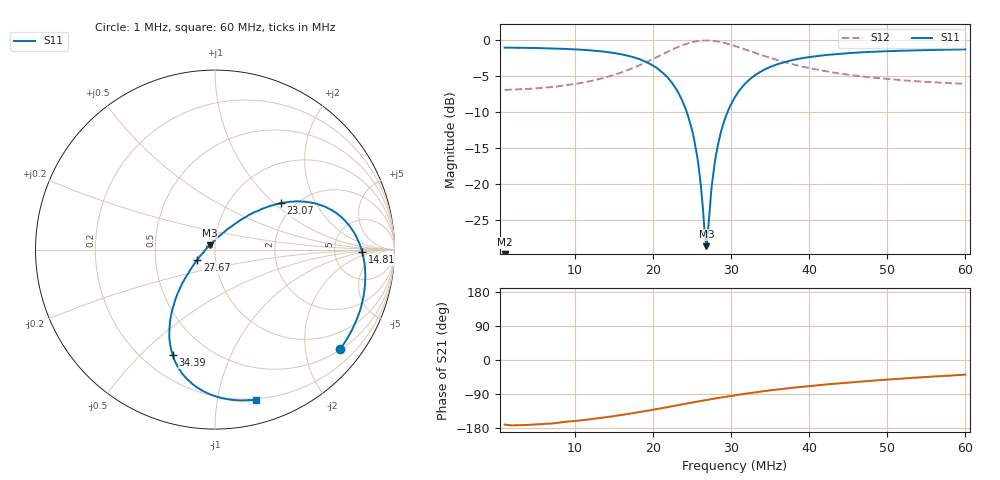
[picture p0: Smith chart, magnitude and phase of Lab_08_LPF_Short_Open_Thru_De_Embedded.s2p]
! Created Sun Apr 27 18:55:38 2025
# hz S ma R 50
! 2 Port Network Data from SP3.SP block
! freq  magS11  angS11  magS21  angS21  magS12  angS12  magS22  angS22
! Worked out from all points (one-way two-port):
!   501 points, 1 MHz to 60 MHz, reference 50 ohm
!   highest |S21| = - dB at 1 MHz (marker M1); lowest = - dB at 1 MHz (marker M2)
!   lowest |S11| = -28.6 dB at 26.84 MHz (marker M3), VSWR 1.08, Z = 47.2 + j2.25 ohm
!   |S11| at or under -10 dB: 24.34 MHz to 29.52 MHz (5.184 MHz wide, 19.2 % of centre)
!   |S22| runs from - to - dB; largest |S21 - S12| = 1
!   S11 on the Smith chart (normalised r, x): 1 MHz: 0.52, -2.79; 14.81 MHz: 10, -1; 23.07 MHz: 1.71, +1.11; 27.67 MHz: 0.82, -0.09; 34.39 MHz: 0.32, -0.63; 60 MHz: 0.19, -1.29
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1000000  0.8913 -38.4  4.569e-11 -170.3  0.4533 148.0  4.569e-11 9.7
6074000  0.8829 -28.7  4.716e-11 -168.9  0.4696 166.9  4.716e-11 11.1
1.0912e7  0.861 -14.3  5.049e-11 -158.9  0.5086 -165.2  5.049e-11 21.1
1.4806e7  0.8201 -0.9  5.503e-11 -148.6  0.5723 -139.5  5.503e-11 31.4
1.811e7  0.7459 12.0  6.086e-11 -138.1  0.6661 -115.0  6.086e-11 41.9
2.0706e7  0.6301 23.5  6.635e-11 -128.6  0.7765 -94.0  6.635e-11 51.4
2.3066e7  0.4505 35.1  7.032e-11 -119.7  0.8928 -74.8  7.032e-11 60.3
2.4364e7  0.3134 42.8  7.101e-11 -114.8  0.9496 -64.3  7.101e-11 65.2
2.5308e7  0.1996 50.8  6.998e-11 -111.2  0.9799 -56.7  6.998e-11 68.8
2.5898e7  0.1257 59.9  6.875e-11 -109.0  0.9921 -52.0  6.875e-11 71.0
2.6606e7  0.04718 98.2  6.69e-11 -106.4  0.9989 -46.6  6.69e-11 73.6
2.6842e7  0.03728 140.3  6.601e-11 -105.5  0.9993 -44.8  6.602e-11 74.5
2.7078e7  0.04989 176.8  6.518e-11 -104.8  0.9988 -43.1  6.518e-11 75.2
2.7668e7  0.113 -149.8  6.293e-11 -102.6  0.9936 -38.7  6.293e-11 77.4
2.814e7  0.168 -141.9  6.063e-11 -101.0  0.9858 -35.3  6.063e-11 79.0
2.8848e7  0.2473 -135.0  5.723e-11 -98.5  0.9689 -30.2  5.723e-11 81.5
3.05e7  0.4049 -125.7  4.895e-11 -93.1  0.9144 -19.1  4.895e-11 86.9
3.4394e7  0.632 -111.9  3.231e-11 -81.8  0.7749 3.6  3.231e-11 98.3
3.7226e7  0.7158 -104.7  2.405e-11 -74.9  0.6983 17.2  2.404e-11 105.1
4.0412e7  0.7719 -97.8  1.773e-11 -68.0  0.6357 30.2  1.772e-11 112.0
5.0206e7  0.8427 -83.5  8.052e-12 -51.6  0.5383 58.1  8.048e-12 128.4
6e7  0.8663 -74.8  4.215e-12 -38.5  0.4995 75.5  4.206e-12 141.3
